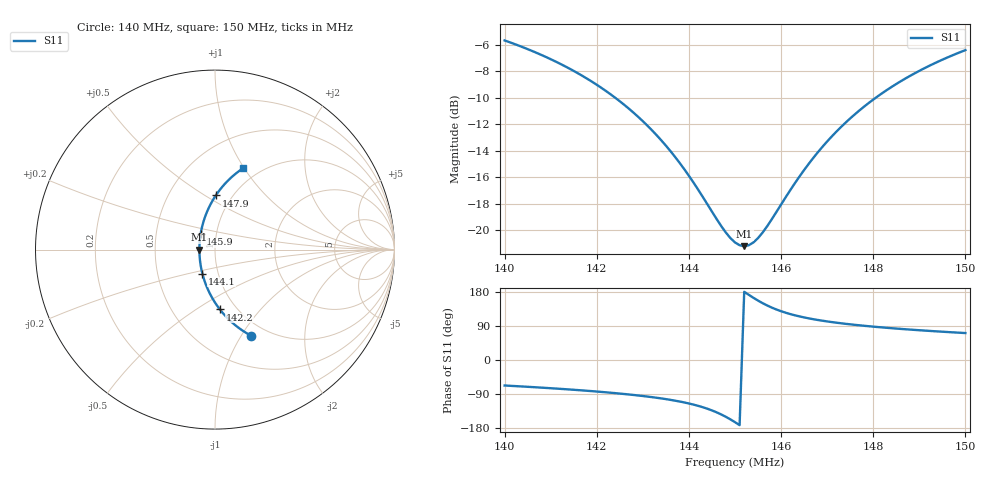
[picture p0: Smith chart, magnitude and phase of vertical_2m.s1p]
! NanoVNA-Saver 0.6 test fixture: synthetic 2 m vertical
# Hz S RI R 50
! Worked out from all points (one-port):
!   101 points, 140 MHz to 150 MHz, reference 50 ohm
!   lowest |S11| = -21.2 dB at 145.2 MHz (marker M1), VSWR 1.19, Z = 42 + j0 ohm
!   |S11| at or under -10 dB: 142.4 MHz to 148.1 MHz (5.663 MHz wide, 3.9 % of centre)
!   S11 on the Smith chart (normalised r, x): 140 MHz: 0.84, -1.10; 142.2 MHz: 0.84, -0.63; 144.1 MHz: 0.84, -0.23; 145.9 MHz: 0.84, +0.15; 147.9 MHz: 0.84, +0.56; 150 MHz: 0.84, +0.98
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1.4e8  0.2004 -0.4794
1.407e8  0.1426 -0.4437
1.413e8  0.0944 -0.4053
1.418e8  0.0562 -0.3676
1.422e8  0.0275 -0.3337
1.425e8  0.0075 -0.3062
1.429e8  -0.0169 -0.2669
1.432e8  -0.0333 -0.2355
1.435e8  -0.0477 -0.2028
1.438e8  -0.0601 -0.1688
1.441e8  -0.0702 -0.1338
1.447e8  -0.0835 -0.0614
1.449e8  -0.0857 -0.0369
1.45e8  -0.0864 -0.0246
1.452e8  -0.087 0
1.453e8  -0.0868 0.0123
1.455e8  -0.0857 0.0368
1.457e8  -0.0835 0.0612
1.459e8  -0.0802 0.0854
1.463e8  -0.0705 0.1328
1.466e8  -0.0606 0.1673
1.469e8  -0.0486 0.2006
1.475e8  -0.019 0.2632
1.479e8  0.00434 0.3015
1.483e8  0.03 0.3368
1.488e8  0.0646 0.3765
1.494e8  0.1088 0.4177
1.5e8  0.1546 0.4519
